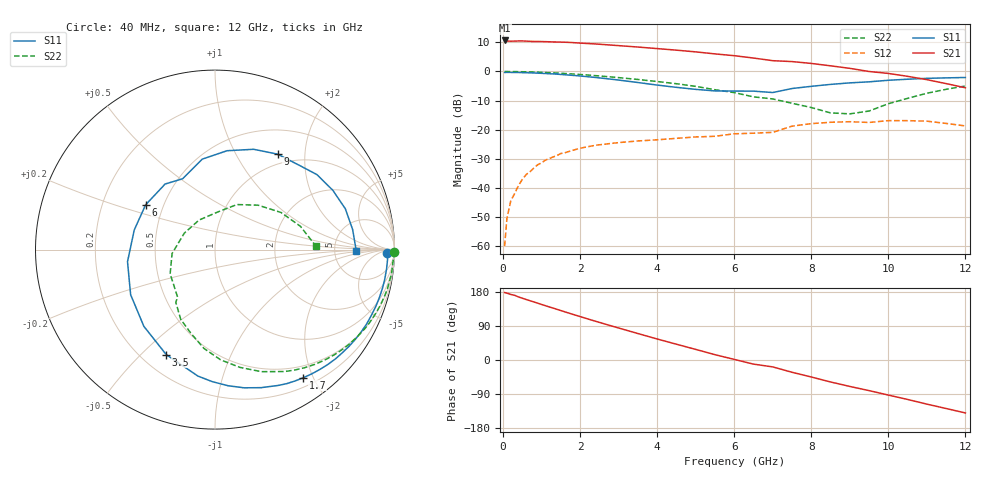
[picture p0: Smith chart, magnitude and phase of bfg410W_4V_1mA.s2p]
! Filename: 41bfg410.001
! BFG410W Field B1
! V1=8.106E-001V,V2=4.000E+000V, I1=9.941E-006A, I2=1.000E-003A
# GHz  S  MA  R 50
!  S11  S21  S12  S22
!Freq(GHz)  Mag  Ang  Mag  Ang  Mag  Ang  Mag  Ang
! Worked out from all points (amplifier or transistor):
!   44 points, 40 MHz to 12 GHz, reference 50 ohm
!   highest |S21| = 10.6 dB at 40 MHz (marker M1)
!   |S21| within 3 dB of that: start of sweep to 4.191 GHz
!   unconditionally stable (mu >= 1): 3.79 GHz to end of sweep
!   at 700 MHz: K = 0.13, MSG = 22.4 dB, |S12| = -34.4 dB
!   at 2.4 GHz: K = 0.46, MSG = 17.4 dB, |S12| = -25.4 dB
!   at 12 GHz: K = 2.28, MAG = 0.2 dB, |S12| = -18.7 dB
!   S11 on the Smith chart (normalised r, x): 40 MHz: 40, -18; 1.7 GHz: 0.32, -1.86; 3.5 GHz: 0.30, -0.60; 6 GHz: 0.40, +0.25; 9 GHz: 0.84, +1.50; 12 GHz: 8.38, -0.28
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0.04  0.959 -1.1  3.402 178.0  0.001 43.2  0.998 -0.7
0.1  0.963 -3.3  3.327 176.4  0.003 81.5  0.998 -2.0
0.2  0.962 -6.5  3.308 172.9  0.006 81.6  0.993 -4.4
0.3  0.96 -9.9  3.316 170.7  0.008 81.2  0.993 -6.4
0.5  0.954 -16.4  3.336 163.0  0.014 76.2  0.987 -10.7
1.2  0.913 -39.0  3.229 140.0  0.032 60.9  0.952 -25.5
1.7  0.867 -55.4  3.156 124.0  0.042 50.2  0.913 -35.6
2.2  0.811 -71.5  3.011 108.4  0.051 40.5  0.867 -45.3
2.8  0.736 -91.1  2.835 90.3  0.058 30.4  0.805 -56.5
3.5  0.645 -114.9  2.623 69.8  0.064 20.8  0.728 -69.1
4  0.583 -132.8  2.466 55.4  0.067 15.2  0.671 -78.0
4.5  0.533 -151.9  2.318 41.6  0.071 10.6  0.615 -87.1
5  0.492 -172.2  2.166 28.0  0.075 5.8  0.554 -96.4
6  0.46 147.1  1.863 1.6  0.085 -2.1  0.433 -116.2
6.5  0.459 127.3  1.698 -10.9  0.087 -6.7  0.366 -126.7
7  0.434 114.6  1.529 -18.2  0.09 8.7  0.337 -128.2
7.5  0.509 98.0  1.476 -32.4  0.115 -8.8  0.284 -151.6
8.5  0.599 68.9  1.248 -58.0  0.134 -32.3  0.194 151.8
9  0.636 56.7  1.13 -69.7  0.137 -42.0  0.187 118.5
10.5  0.735 26.7  0.824 -104.1  0.143 -72.9  0.345 45.8
11  0.761 17.4  0.722 -116.5  0.14 -87.1  0.422 29.3
12  0.787 -0.5  0.524 -139.7  0.116 -114.7  0.563 1.9
